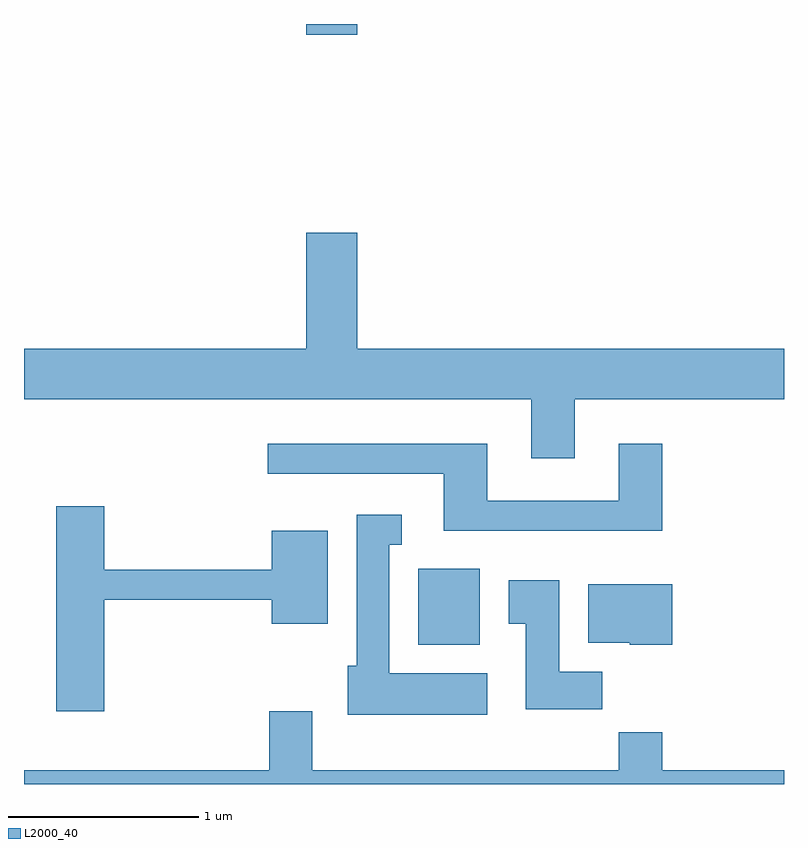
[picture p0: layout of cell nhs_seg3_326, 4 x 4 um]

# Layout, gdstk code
import gdstk
lib = gdstk.Library(unit=1e-6, precision=1e-09)
def R(c, l, rs):  # rectangles x0, y0, x1, y1
    for r in rs: c.add(gdstk.rectangle(r[:2], r[2:], *l))
def P(c, l, *ps):  # polygons
    for p in ps: c.add(gdstk.Polygon(p, *l))
L2000_40 = (2000, 40)

nhs_seg3_326 = lib.new_cell('nhs_seg3_326')
R(nhs_seg3_326, L2000_40, [(195.686,1224.626,196.009,1225.024), (195.096,1227.836,195.364,1227.892)])
P(nhs_seg3_326, L2000_40, [(196.509,1225.916),(197.611,1225.916),(197.611,1226.184),(195.364,1226.184),(195.364,1226.794),(195.096,1226.794),(195.096,1226.184),(193.611,1226.184),(193.611,1225.916),(196.281,1225.916),(196.281,1225.606),(196.509,1225.606)],
  [(196.969,1225.684),(196.741,1225.684),(196.741,1225.384),(196.049,1225.384),(196.049,1225.684),(194.893,1225.684),(194.893,1225.526),(195.821,1225.526),(195.821,1225.226),(196.969,1225.226)],
  [(194.034,1224.861),(194.916,1224.861),(194.916,1224.736),(195.209,1224.736),(195.209,1225.224),(194.916,1225.224),(194.916,1225.019),(194.034,1225.019),(194.034,1225.354),(193.781,1225.354),(193.781,1224.276),(194.034,1224.276)],
  [(196.049,1224.474),(195.534,1224.474),(195.534,1225.151),(195.598,1225.151),(195.598,1225.309),(195.361,1225.309),(195.361,1224.514),(195.316,1224.514),(195.316,1224.256),(196.049,1224.256)],
  [(196.654,1224.484),(196.429,1224.484),(196.429,1224.964),(196.161,1224.964),(196.161,1224.736),(196.251,1224.736),(196.251,1224.286),(196.654,1224.286)],
  [(197.024,1224.944),(196.581,1224.944),(196.581,1224.636),(196.8,1224.636),(196.8,1224.626),(197.024,1224.626)],
  [(197.611,1223.964),(196.969,1223.964),(196.969,1224.164),(196.741,1224.164),(196.741,1223.964),(195.129,1223.964),(195.129,1224.274),(194.901,1224.274),(194.901,1223.964),(193.611,1223.964),(193.611,1223.892),(197.611,1223.892)])

lib.write_gds('nhs_seg3_326.gds')
